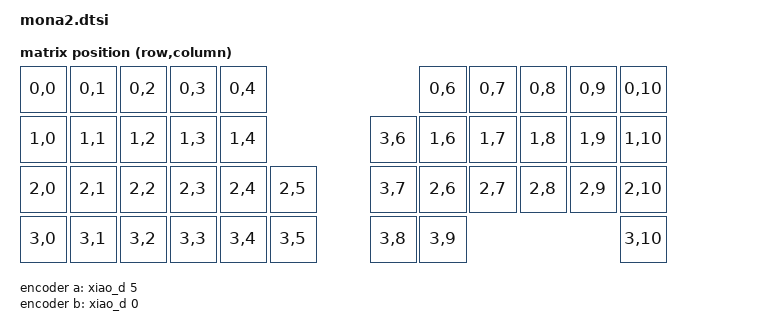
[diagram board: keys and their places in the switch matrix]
#include <dt-bindings/zmk/matrix_transform.h>
#include <dt-bindings/zmk/input_transform.h>
#include <physical_layouts.dtsi>
#include <zephyr/dt-bindings/input/input-event-codes.h>
#include <input/processors.dtsi>

/ {
    chosen {
        zmk,kscan = &kscan0;
        zmk,physical-layout = &physical_layout0;
    };

    physical_layout0: physical_layout_0 {
        compatible = "zmk,physical-layout";
        display-name = "default_layout";
        kscan = <&kscan0>;
        transform = <&default_transform>;
        keys  //                     w   h    x    y     rot    rx    ry
            = <&key_physical_attrs 100 100    0    0       0     0     0>
            , <&key_physical_attrs 100 100  100    0       0     0     0>
            , <&key_physical_attrs 100 100  200    0       0     0     0>
            , <&key_physical_attrs 100 100  300    0       0     0     0>
            , <&key_physical_attrs 100 100  400    0       0     0     0>
            , <&key_physical_attrs 100 100  800    0       0     0     0>
            , <&key_physical_attrs 100 100  900    0       0     0     0>
            , <&key_physical_attrs 100 100 1000    0       0     0     0>
            , <&key_physical_attrs 100 100 1100    0       0     0     0>
            , <&key_physical_attrs 100 100 1200    0       0     0     0>
            , <&key_physical_attrs 100 100    0  100       0     0     0>
            , <&key_physical_attrs 100 100  100  100       0     0     0>
            , <&key_physical_attrs 100 100  200  100       0     0     0>
            , <&key_physical_attrs 100 100  300  100       0     0     0>
            , <&key_physical_attrs 100 100  400  100       0     0     0>
            , <&key_physical_attrs 100 100  700  100       0     0     0>
            , <&key_physical_attrs 100 100  800  100       0     0     0>
            , <&key_physical_attrs 100 100  900  100       0     0     0>
            , <&key_physical_attrs 100 100 1000  100       0     0     0>
            , <&key_physical_attrs 100 100 1100  100       0     0     0>
            , <&key_physical_attrs 100 100 1200  100       0     0     0>
            , <&key_physical_attrs 100 100    0  200       0     0     0>
            , <&key_physical_attrs 100 100  100  200       0     0     0>
            , <&key_physical_attrs 100 100  200  200       0     0     0>
            , <&key_physical_attrs 100 100  300  200       0     0     0>
            , <&key_physical_attrs 100 100  400  200       0     0     0>
            , <&key_physical_attrs 100 100  500  200       0     0     0>
            , <&key_physical_attrs 100 100  700  200       0     0     0>
            , <&key_physical_attrs 100 100  800  200       0     0     0>
            , <&key_physical_attrs 100 100  900  200       0     0     0>
            , <&key_physical_attrs 100 100 1000  200       0     0     0>
            , <&key_physical_attrs 100 100 1100  200       0     0     0>
            , <&key_physical_attrs 100 100 1200  200       0     0     0>
            , <&key_physical_attrs 100 100    0  300       0     0     0>
            , <&key_physical_attrs 100 100  100  300       0     0     0>
            , <&key_physical_attrs 100 100  200  300       0     0     0>
            , <&key_physical_attrs 100 100  300  300       0     0     0>
            , <&key_physical_attrs 100 100  400  300       0     0     0>
            , <&key_physical_attrs 100 100  500  300       0     0     0>
            , <&key_physical_attrs 100 100  700  300       0     0     0>
            , <&key_physical_attrs 100 100  800  300       0     0     0>
            , <&key_physical_attrs 100 100 1200  300       0     0     0>
            ;
    };

    default_transform: keymap_transform_0 {
        compatible = "zmk,matrix-transform";
        columns = <11>;
        rows = <4>;               
        map = <
            RC(0,0) RC(0,1) RC(0,2) RC(0,3) RC(0,4)                     RC(0,6) RC(0,7) RC(0,8) RC(0,9) RC(0,10)
            RC(1,0) RC(1,1) RC(1,2) RC(1,3) RC(1,4)             RC(3,6) RC(1,6) RC(1,7) RC(1,8) RC(1,9) RC(1,10)
            RC(2,0) RC(2,1) RC(2,2) RC(2,3) RC(2,4) RC(2,5)     RC(3,7) RC(2,6) RC(2,7) RC(2,8) RC(2,9) RC(2,10)
            RC(3,0) RC(3,1) RC(3,2) RC(3,3) RC(3,4) RC(3,5)     RC(3,8) RC(3,9)                         RC(3,10)         
        >;
    };

    position_map {
        physical-layout = <&physical_layout0>;
        positions = <
            0  1  2  3  4         5  6  7  8  9
            10 11 12 13 14     15 16 17 18 19 20
            21 22 23 24 25 26  27 28 29 30 31 32
            33 34 35 36 37 38  39 40          41 >;
    };

    encoder: encoder {
        compatible = "alps,ec11";
        a-gpios = <&xiao_d 5 (GPIO_ACTIVE_HIGH | GPIO_PULL_UP)>;
        b-gpios = <&xiao_d 0 (GPIO_ACTIVE_HIGH | GPIO_PULL_UP)>;
        steps = <12>;
        status = "disabled";
    };

    sensors: sensors {
        compatible = "zmk,keymap-sensors";
        sensors = <&encoder>;
        triggers-per-rotation = <6>;
    };

    split_inputs {
        #address-cells = <1>;
        #size-cells = <0>;
        
        trackball_split: trackball_split@0 {
            compatible = "zmk,input-split";
            reg = <0>;
        };
    };

    listner_peripheral: listner_peripheral {
        compatible = "zmk,input-listener";
        status = "disabled";
        device = <&trackball_split>;
    };

    listner_central: listner_central {
        compatible = "zmk,input-listener";
        status = "disabled";
    };

};

&pinctrl {
    spi0_default: spi0_default {    //通常時(SPI通信中)のピン構成
        group1 {
            psels = <NRF_PSEL(SPIM_SCK, 0, 5)>, //P0.05を指定(SCLK)
                <NRF_PSEL(SPIM_MOSI, 0, 4)>,    //P0.04を指定(SDIOだからMOSI,MISO両方の役割を担う)
                <NRF_PSEL(SPIM_MISO, 0, 4)>;
        };
    };

    spi0_sleep: spi0_sleep {    //スリープ時のピン構成(省電力)
        group1 {
            psels = <NRF_PSEL(SPIM_SCK, 0, 5)>,
                <NRF_PSEL(SPIM_MOSI, 0, 4)>,
                <NRF_PSEL(SPIM_MISO, 0, 4)>;
            low-power-enable;
        };
    };
};

&spi0 {
    status = "disabled";
    compatible = "nordic,nrf-spim"; //マイコンがnRFシリーズ
    pinctrl-0 = <&spi0_default>;
    pinctrl-1 = <&spi0_sleep>;
    pinctrl-names = "default", "sleep";
    cs-gpios = <&gpio0 9 GPIO_ACTIVE_LOW>;  //P0.09を指定(CS)
};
